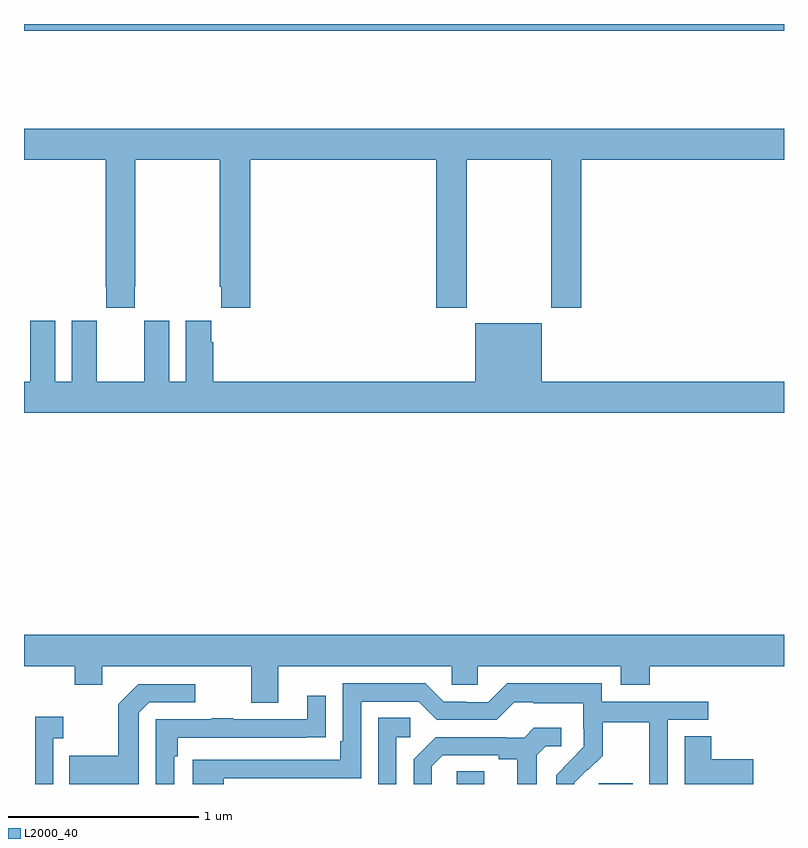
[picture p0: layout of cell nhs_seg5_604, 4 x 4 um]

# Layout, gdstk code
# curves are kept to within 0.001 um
import gdstk
lib = gdstk.Library(unit=1e-6, precision=1e-09)
def R(c, l, rs):  # rectangles x0, y0, x1, y1
    for r in rs: c.add(gdstk.rectangle(r[:2], r[2:], *l))
def P(c, l, *ps):  # polygons
    for p in ps: c.add(gdstk.Polygon(p, *l))
L2000_40 = (2000, 40)

nhs_seg5_604 = lib.new_cell('nhs_seg5_604')
R(nhs_seg5_604, L2000_40, [(151.278,862.799,151.423,862.865), (152.024,862.799,152.203,862.803), (149,866.764,153,866.799)])
P(nhs_seg5_604, L2000_40, [(149.583,865.417),(149.586,865.417),(149.586,866.084),(150.031,866.084),(150.031,865.417),(150.037,865.417),(150.037,865.305),(150.191,865.305),(150.191,866.084),(151.169,866.084),(151.169,865.305),(151.329,865.305),(151.329,866.084),(151.774,866.084),(151.774,865.305),(151.934,865.305),(151.934,866.084),(153,866.084),(153,866.248),(149,866.248),(149,866.084),(149.431,866.084),(149.431,865.417),(149.433,865.417),(149.433,865.305),(149.583,865.305)],
  [(153,864.916),(151.726,864.916),(151.726,865.225),(151.376,865.225),(151.376,864.916),(149.996,864.916),(149.996,865.124),(149.986,865.124),(149.986,865.237),(149.852,865.237),(149.852,864.916),(149.764,864.916),(149.764,865.237),(149.634,865.237),(149.634,865.124),(149.633,865.124),(149.633,864.916),(149.383,864.916),(149.383,865.124),(149.382,865.124),(149.382,865.237),(149.252,865.237),(149.252,864.916),(149.164,864.916),(149.164,865.237),(149.034,865.237),(149.034,865.124),(149.033,865.124),(149.033,864.916),(149,864.916),(149,864.752),(153,864.752)],
  [(150.337,863.42),(151.251,863.42),(151.251,863.322),(151.389,863.322),(151.389,863.42),(152.141,863.42),(152.141,863.321),(152.294,863.321),(152.294,863.42),(153,863.42),(153,863.584),(149,863.584),(149,863.42),(149.266,863.42),(149.266,863.321),(149.413,863.321),(149.413,863.42),(150.197,863.42),(150.197,863.226),(150.337,863.226)],
  [(150.05,862.83),(150.774,862.83),(150.774,863.232),(151.077,863.232),(151.173,863.136),(151.488,863.136),(151.581,863.229),(151.681,863.229),(151.681,863.225),(151.944,863.225),(151.944,863.091),(151.946,863.091),(151.946,862.994),(151.8,862.846),(151.8,862.799),(151.895,862.799),(151.895,862.805),(151.965,862.875),(151.968,862.872),(152.045,862.949),(152.045,863.124),(152.29,863.124),(152.29,862.9),(152.292,862.9),(152.292,862.799),(152.388,862.799),(152.388,863.136),(152.602,863.136),(152.602,863.232),(152.04,863.232),(152.04,863.329),(151.543,863.329),(151.443,863.229),(151.328,863.229),(151.328,863.232),(151.209,863.232),(151.113,863.328),(150.678,863.328),(150.678,863.023),(150.665,863.023),(150.665,862.926),(149.889,862.926),(149.889,862.799),(150.05,862.799)],
  [(149.604,863.175),(149.658,863.229),(149.902,863.229),(149.902,863.325),(149.601,863.325),(149.496,863.219),(149.496,862.947),(149.239,862.947),(149.239,862.799),(149.604,862.799)],
  [(149.79,862.946),(149.81,862.946),(149.81,863.043),(150.485,863.043),(150.485,863.044),(150.587,863.044),(150.587,863.263),(150.491,863.263),(150.491,863.139),(150.101,863.139),(150.101,863.144),(149.989,863.144),(149.989,863.139),(149.694,863.139),(149.694,862.799),(149.79,862.799)],
  [(149.154,863.039),(149.206,863.039),(149.206,863.152),(149.058,863.152),(149.058,862.799),(149.154,862.799)],
  [(150.96,863.046),(151.033,863.046),(151.033,863.147),(150.864,863.147),(150.864,862.799),(150.96,862.799)],
  [(151.147,862.893),(151.204,862.95),(151.499,862.95),(151.499,862.928),(151.595,862.928),(151.595,862.799),(151.699,862.799),(151.699,862.951),(151.746,862.998),(151.828,862.998),(151.828,863.095),(151.684,863.095),(151.632,863.043),(151.538,863.043),(151.538,863.046),(151.166,863.046),(151.05,862.93),(151.05,862.799),(151.147,862.799)],
  [(152.839,862.928),(152.616,862.928),(152.616,863.051),(152.477,863.051),(152.477,862.799),(152.839,862.799)])

lib.write_gds('nhs_seg5_604.gds')
